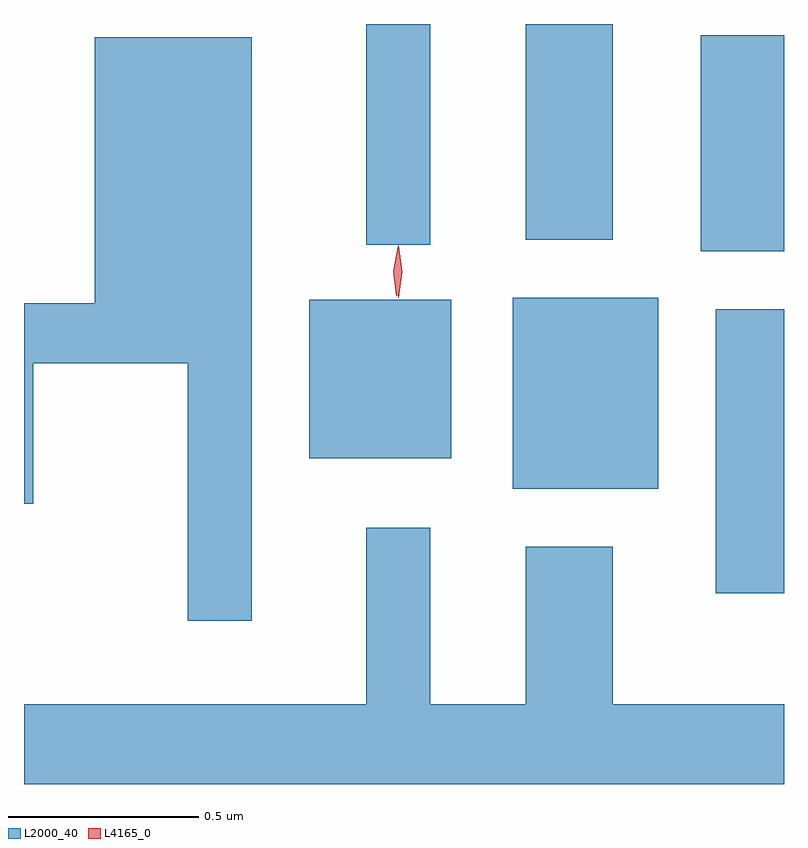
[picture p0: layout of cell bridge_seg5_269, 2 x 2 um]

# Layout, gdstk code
import gdstk
lib = gdstk.Library(unit=1e-6, precision=1e-09)
def R(c, l, rs):  # rectangles x0, y0, x1, y1
    for r in rs: c.add(gdstk.rectangle(r[:2], r[2:], *l))
def P(c, l, *ps):  # polygons
    for p in ps: c.add(gdstk.Polygon(p, *l))
L2000_40 = (2000, 40)
L4165_0 = (4165, 0)

bridge_seg5_269 = lib.new_cell('bridge_seg5_269')
R(bridge_seg5_269, L2000_40, [(1259.221,1401.856,1259.4,1402.604), (1258.686,1402.131,1259.069,1402.634), (1258.151,1402.211,1258.524,1402.629), (1259.181,1402.756,1259.4,1403.324), (1258.301,1402.773,1258.469,1403.354), (1258.721,1402.786,1258.949,1403.354)])
P(bridge_seg5_269, L2000_40, [(1257.999,1403.319),(1257.586,1403.319),(1257.586,1402.619),(1257.4,1402.619),(1257.4,1402.091),(1257.424,1402.091),(1257.424,1402.461),(1257.831,1402.461),(1257.831,1401.783),(1257.999,1401.783)],
  [(1259.4,1401.564),(1258.949,1401.564),(1258.949,1401.979),(1258.721,1401.979),(1258.721,1401.564),(1258.469,1401.564),(1258.469,1402.028),(1258.301,1402.028),(1258.301,1401.564),(1257.4,1401.564),(1257.4,1401.354),(1259.4,1401.354)])
P(bridge_seg5_269, L4165_0, [(1258.38,1402.638),(1258.38,1402.639),(1258.372,1402.703),(1258.383,1402.766),(1258.383,1402.767),(1258.384,1402.766),(1258.392,1402.702),(1258.381,1402.639)],
  [(1258.385,1402.634),(1258.376,1402.702),(1258.385,1402.77),(1258.386,1402.77),(1258.386,1402.77),(1258.396,1402.702),(1258.386,1402.634),(1258.386,1402.634)])

lib.write_gds('bridge_seg5_269.gds')
